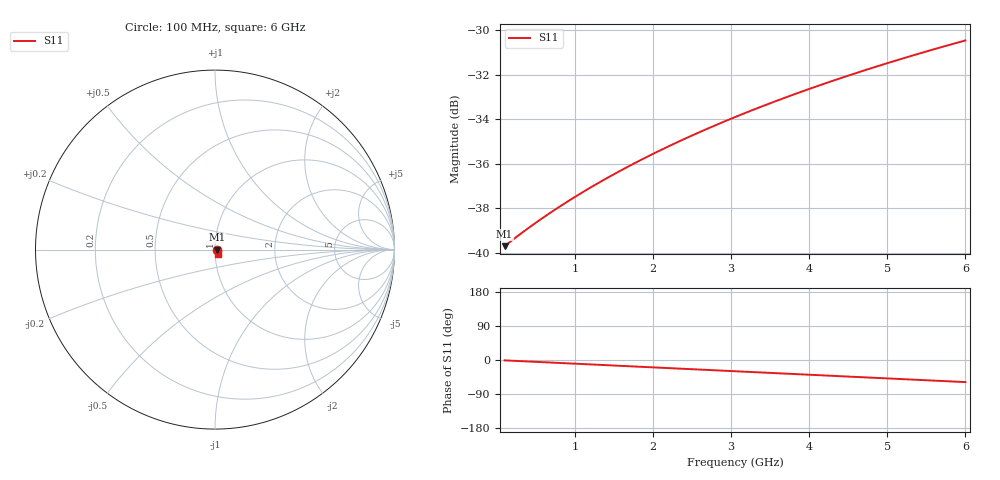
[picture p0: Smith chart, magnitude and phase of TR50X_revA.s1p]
! written by passband
# GHZ S RI R 50
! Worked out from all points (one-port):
!   121 points, 100 MHz to 6 GHz, reference 50 ohm
!   lowest |S11| = -39.7 dB at 100 MHz (marker M1), VSWR 1.02, Z = 51 - j0.0179 ohm
!   |S11| at or under -10 dB: start of sweep to end of sweep
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0.1  0.0103 -0.000175
0.2475  0.0108 -0.000454
0.3458333  0.0111 -0.000654
0.4441667  0.0114 -0.000864
0.5425  0.0118 -0.00108
0.6408333  0.0121 -0.00132
0.8375  0.0127 -0.00181
0.985  0.0131 -0.00221
1.181667  0.0137 -0.00277
1.378333  0.0142 -0.00338
1.575  0.0147 -0.00402
1.7225  0.0151 -0.00453
1.919167  0.0155 -0.00524
2.115833  0.016 -0.00599
2.3125  0.0164 -0.00677
2.46  0.0166 -0.00737
2.656667  0.017 -0.00821
2.853333  0.0173 -0.00908
3.05  0.0175 -0.00997
3.394167  0.0179 -0.0116
3.590833  0.018 -0.0126
3.7875  0.0181 -0.0136
4.131667  0.0182 -0.0153
4.525  0.0181 -0.0174
4.869167  0.0178 -0.0193
5.2625  0.0173 -0.0214
5.606667  0.0167 -0.0233
6  0.0158 -0.0255
